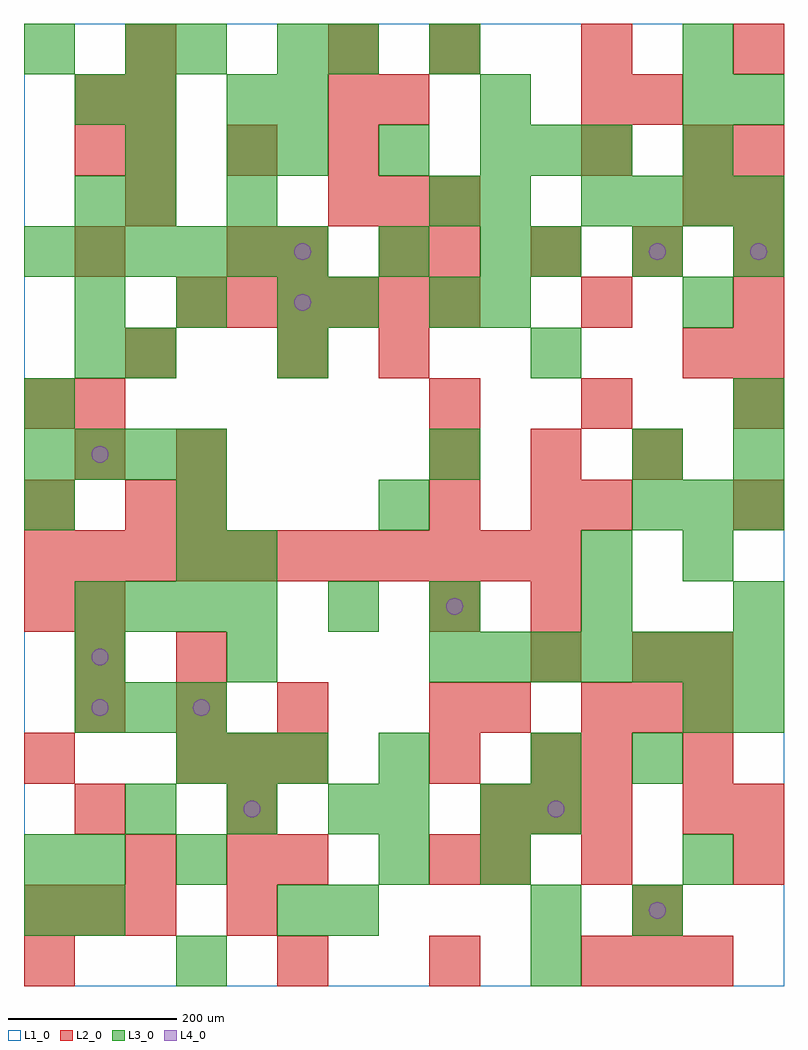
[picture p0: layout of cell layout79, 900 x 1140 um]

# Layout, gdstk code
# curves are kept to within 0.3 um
import gdstk
lib = gdstk.Library(unit=1e-6, precision=1e-09)
def R(c, l, rs):  # rectangles x0, y0, x1, y1
    for r in rs: c.add(gdstk.rectangle(r[:2], r[2:], *l))
def A(c, l, x, y, w, h, nx, ny, dx, dy):  # array of equal rectangles
    R(c, l, [(x+i*dx, y+j*dy, x+i*dx+w, y+j*dy+h) for i in range(nx) for j in range(ny)])
def P(c, l, *ps):  # polygons
    for p in ps: c.add(gdstk.Polygon(p, *l))
L1_0 = (1, 0)
L2_0 = (2, 0)
L3_0 = (3, 0)
L4_0 = (4, 0)

layout79 = lib.new_cell('layout79')
R(layout79, L1_0, [(0,0,900,1140)])
A(layout79, L2_0, 300, 0, 60, 60, 3, 1, 180, 0)
A(layout79, L2_0, 0, 60, 60, 60, 3, 1, 60, 0)
A(layout79, L2_0, 240, 60, 60, 60, 1, 3, 0, 60)
A(layout79, L2_0, 540, 180, 60, 60, 3, 1, 60, 0)
A(layout79, L2_0, 180, 240, 60, 60, 3, 1, 60, 0)
A(layout79, L2_0, 60, 300, 60, 60, 3, 1, 120, 0)
A(layout79, L2_0, 480, 300, 60, 60, 1, 3, 0, 120)
A(layout79, L2_0, 660, 300, 60, 60, 3, 1, 60, 0)
A(layout79, L2_0, 0, 420, 60, 60, 1, 3, 0, 120)
A(layout79, L2_0, 0, 480, 60, 60, 11, 1, 60, 0)
A(layout79, L2_0, 120, 540, 60, 60, 1, 3, 0, 180)
A(layout79, L2_0, 480, 600, 60, 60, 3, 1, 120, 0)
A(layout79, L2_0, 480, 660, 60, 60, 3, 2, 180, 420)
A(layout79, L2_0, 180, 780, 60, 60, 6, 1, 60, 0)
A(layout79, L2_0, 480, 840, 60, 60, 4, 1, 120, 0)
A(layout79, L2_0, 360, 900, 60, 60, 3, 1, 60, 0)
A(layout79, L2_0, 120, 960, 60, 60, 3, 1, 120, 0)
R(layout79, L2_0, [(0,0,60,60), (720,0,780,60), (780,0,840,60), (720,60,780,120), (120,120,180,180), (300,120,360,180), (480,120,540,180), (540,120,600,180), (660,120,720,180), (840,120,900,180), (60,180,120,240), (780,180,840,240), (840,180,900,240), (0,240,60,300), (480,240,540,300), (600,240,660,300), (660,240,720,300), (780,240,840,300), (540,300,600,360), (60,360,120,420), (180,360,240,420), (600,360,660,420), (720,360,780,420), (780,360,840,420), (60,420,120,480), (600,420,660,480), (180,540,240,600), (600,540,660,600), (660,540,720,600), (840,540,900,600), (60,600,120,660), (180,600,240,660), (60,660,120,720), (300,720,360,780), (420,720,480,780), (780,720,840,780), (840,720,900,780), (660,780,720,840), (840,780,900,840), (60,840,120,900), (240,840,300,900), (300,840,360,900), (420,840,480,900), (780,900,840,960), (840,900,900,960), (60,960,120,1020), (660,960,720,1020), (780,960,840,1020), (840,960,900,1020), (60,1020,120,1080), (120,1020,180,1080), (360,1020,420,1080), (420,1020,480,1080), (660,1020,720,1080), (720,1020,780,1080), (120,1080,180,1140), (360,1080,420,1140)])
A(layout79, L3_0, 360, 60, 60, 60, 1, 3, 0, 360)
A(layout79, L3_0, 420, 120, 60, 60, 1, 3, 0, 60)
A(layout79, L3_0, 780, 120, 60, 60, 1, 3, 0, 180)
A(layout79, L3_0, 120, 180, 60, 60, 3, 1, 120, 0)
A(layout79, L3_0, 180, 240, 60, 60, 3, 1, 60, 0)
A(layout79, L3_0, 60, 300, 60, 60, 3, 1, 60, 0)
A(layout79, L3_0, 480, 360, 60, 60, 7, 1, 60, 0)
A(layout79, L3_0, 60, 420, 60, 60, 4, 1, 60, 0)
A(layout79, L3_0, 480, 420, 60, 60, 3, 1, 180, 0)
A(layout79, L3_0, 720, 540, 60, 60, 3, 1, 60, 0)
A(layout79, L3_0, 0, 600, 60, 60, 4, 1, 60, 0)
A(layout79, L3_0, 60, 780, 60, 60, 3, 1, 120, 0)
A(layout79, L3_0, 540, 780, 60, 60, 1, 3, 0, 60)
A(layout79, L3_0, 0, 840, 60, 60, 6, 1, 60, 0)
A(layout79, L3_0, 600, 840, 60, 60, 3, 1, 120, 0)
A(layout79, L3_0, 120, 900, 60, 60, 1, 4, 0, 60)
A(layout79, L3_0, 240, 900, 60, 60, 1, 3, 0, 60)
A(layout79, L3_0, 660, 900, 60, 60, 4, 1, 60, 0)
A(layout79, L3_0, 300, 960, 60, 60, 3, 1, 120, 0)
A(layout79, L3_0, 300, 1020, 60, 60, 3, 1, 240, 0)
R(layout79, L3_0, [(180,0,240,60), (600,0,660,60), (0,60,60,120), (60,60,120,120), (300,60,360,120), (600,60,660,120), (720,60,780,120), (0,120,60,180), (60,120,120,180), (180,120,240,180), (540,120,600,180), (540,180,600,240), (600,180,660,240), (600,240,660,300), (720,240,780,300), (840,300,900,360), (60,360,120,420), (240,360,300,420), (180,480,240,540), (240,480,300,540), (660,480,720,540), (0,540,60,600), (180,540,240,600), (420,540,480,600), (480,600,540,660), (720,600,780,660), (840,600,900,660), (0,660,60,720), (840,660,900,720), (60,720,120,780), (120,720,180,780), (300,720,360,780), (600,720,660,780), (480,780,540,840), (780,780,840,840), (420,840,480,900), (60,900,120,960), (480,900,540,960), (600,960,660,1020), (660,960,720,1020), (780,960,840,1020), (60,1020,120,1080), (840,1020,900,1080), (0,1080,60,1140), (180,1080,240,1140), (300,1080,360,1140), (360,1080,420,1140), (480,1080,540,1140), (780,1080,840,1140)])
P(layout79, L4_0, [(100,330),(99.239,333.827),(97.071,337.071),(93.827,339.239),(90,340),(86.173,339.239),(82.929,337.071),(80.761,333.827),(80,330),(80.761,326.173),(82.929,322.929),(86.173,320.761),(90,320),(93.827,320.761),(97.071,322.929),(99.239,326.173)],
  [(100,390),(99.239,393.827),(97.071,397.071),(93.827,399.239),(90,400),(86.173,399.239),(82.929,397.071),(80.761,393.827),(80,390),(80.761,386.173),(82.929,382.929),(86.173,380.761),(90,380),(93.827,380.761),(97.071,382.929),(99.239,386.173)],
  [(100,630),(99.239,633.827),(97.071,637.071),(93.827,639.239),(90,640),(86.173,639.239),(82.929,637.071),(80.761,633.827),(80,630),(80.761,626.173),(82.929,622.929),(86.173,620.761),(90,620),(93.827,620.761),(97.071,622.929),(99.239,626.173)],
  [(220,330),(219.239,333.827),(217.071,337.071),(213.827,339.239),(210,340),(206.173,339.239),(202.929,337.071),(200.761,333.827),(200,330),(200.761,326.173),(202.929,322.929),(206.173,320.761),(210,320),(213.827,320.761),(217.071,322.929),(219.239,326.173)],
  [(280,210),(279.239,213.827),(277.071,217.071),(273.827,219.239),(270,220),(266.173,219.239),(262.929,217.071),(260.761,213.827),(260,210),(260.761,206.173),(262.929,202.929),(266.173,200.761),(270,200),(273.827,200.761),(277.071,202.929),(279.239,206.173)],
  [(340,810),(339.239,813.827),(337.071,817.071),(333.827,819.239),(330,820),(326.173,819.239),(322.929,817.071),(320.761,813.827),(320,810),(320.761,806.173),(322.929,802.929),(326.173,800.761),(330,800),(333.827,800.761),(337.071,802.929),(339.239,806.173)],
  [(340,870),(339.239,873.827),(337.071,877.071),(333.827,879.239),(330,880),(326.173,879.239),(322.929,877.071),(320.761,873.827),(320,870),(320.761,866.173),(322.929,862.929),(326.173,860.761),(330,860),(333.827,860.761),(337.071,862.929),(339.239,866.173)],
  [(520,450),(519.239,453.827),(517.071,457.071),(513.827,459.239),(510,460),(506.173,459.239),(502.929,457.071),(500.761,453.827),(500,450),(500.761,446.173),(502.929,442.929),(506.173,440.761),(510,440),(513.827,440.761),(517.071,442.929),(519.239,446.173)],
  [(640,210),(639.239,213.827),(637.071,217.071),(633.827,219.239),(630,220),(626.173,219.239),(622.929,217.071),(620.761,213.827),(620,210),(620.761,206.173),(622.929,202.929),(626.173,200.761),(630,200),(633.827,200.761),(637.071,202.929),(639.239,206.173)],
  [(760,90),(759.239,93.827),(757.071,97.071),(753.827,99.239),(750,100),(746.173,99.239),(742.929,97.071),(740.761,93.827),(740,90),(740.761,86.173),(742.929,82.929),(746.173,80.761),(750,80),(753.827,80.761),(757.071,82.929),(759.239,86.173)],
  [(760,870),(759.239,873.827),(757.071,877.071),(753.827,879.239),(750,880),(746.173,879.239),(742.929,877.071),(740.761,873.827),(740,870),(740.761,866.173),(742.929,862.929),(746.173,860.761),(750,860),(753.827,860.761),(757.071,862.929),(759.239,866.173)],
  [(880,870),(879.239,873.827),(877.071,877.071),(873.827,879.239),(870,880),(866.173,879.239),(862.929,877.071),(860.761,873.827),(860,870),(860.761,866.173),(862.929,862.929),(866.173,860.761),(870,860),(873.827,860.761),(877.071,862.929),(879.239,866.173)])

lib.write_gds('layout79.gds')
